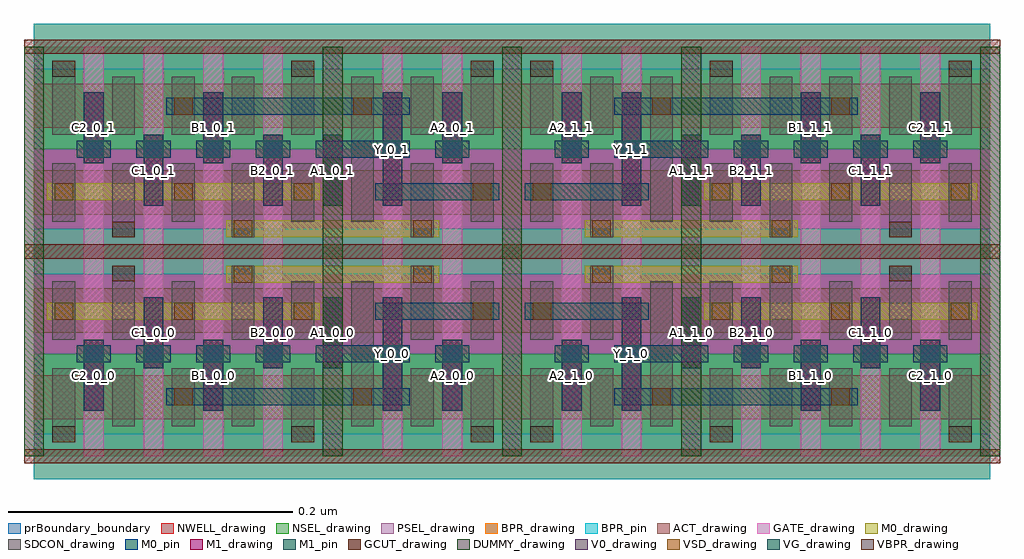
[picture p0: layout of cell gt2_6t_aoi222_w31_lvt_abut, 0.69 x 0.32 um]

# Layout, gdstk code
from math import pi, radians
import gdstk
lib = gdstk.Library(unit=1e-6, precision=5e-10)
def R(c, l, rs):  # rectangles x0, y0, x1, y1
    for r in rs: c.add(gdstk.rectangle(r[:2], r[2:], *l))
def A(c, l, x, y, w, h, nx, ny, dx, dy):  # array of equal rectangles
    R(c, l, [(x+i*dx, y+j*dy, x+i*dx+w, y+j*dy+h) for i in range(nx) for j in range(ny)])
NWELL_drawing = (1, 0)
ACT_drawing = (2, 0)
GATE_drawing = (3, 0)
DUMMY_drawing = (4, 0)
GCUT_drawing = (5, 0)
NSEL_drawing = (6, 0)
PSEL_drawing = (7, 0)
BPR_drawing = (8, 0)
BPR_pin = (8, 251)
VBPR_drawing = (9, 0)
SDCON_drawing = (10, 0)
VSD_drawing = (11, 0)
VG_drawing = (12, 0)
M0_drawing = (20, 0)
M0_pin = (20, 251)
V0_drawing = (22, 0)
M1_drawing = (25, 0)
M1_pin = (25, 251)
prBoundary_boundary = (235, 250)

gt2_6t_aoi222_w31_lvt = lib.new_cell('gt2_6t_aoi222_w31_lvt')
R(gt2_6t_aoi222_w31_lvt, NWELL_drawing, [(0,0.072,0.336,0.144)])
R(gt2_6t_aoi222_w31_lvt, ACT_drawing, [(0,0.026,0.336,0.057), (0,0.087,0.336,0.118)])
A(gt2_6t_aoi222_w31_lvt, GATE_drawing, -0.007, 0, 0.014, 0.144, 9, 1, 0.042, 0)
R(gt2_6t_aoi222_w31_lvt, DUMMY_drawing, [(-0.007,0,0.007,0.072), (0.203,0,0.217,0.072), (0.329,0,0.343,0.072), (-0.007,0.072,0.007,0.144), (0.203,0.072,0.217,0.144), (0.329,0.072,0.343,0.144)])
R(gt2_6t_aoi222_w31_lvt, GCUT_drawing, [(-0.007,-0.005,0.343,0.005), (-0.007,0.139,0.343,0.149)])
R(gt2_6t_aoi222_w31_lvt, NSEL_drawing, [(0,0,0.336,0.072)])
R(gt2_6t_aoi222_w31_lvt, PSEL_drawing, [(0,0.072,0.336,0.144)])
R(gt2_6t_aoi222_w31_lvt, BPR_drawing, [(0,-0.016,0.336,0.016), (0,0.128,0.336,0.16)])
R(gt2_6t_aoi222_w31_lvt, BPR_pin, [(0,-0.016,0.336,0.016), (0,0.128,0.336,0.16)])
R(gt2_6t_aoi222_w31_lvt, VBPR_drawing, [(0.013,0.01,0.029,0.021), (0.181,0.01,0.197,0.021), (0.307,0.01,0.323,0.021), (0.055,0.123,0.071,0.134)])
A(gt2_6t_aoi222_w31_lvt, SDCON_drawing, 0.055, 0.021, 0.016, 0.041, 3, 1, 0.042, 0)
A(gt2_6t_aoi222_w31_lvt, SDCON_drawing, 0.013, 0.082, 0.016, 0.041, 3, 1, 0.084, 0)
R(gt2_6t_aoi222_w31_lvt, SDCON_drawing, [(0.013,0.01,0.029,0.062), (0.181,0.01,0.197,0.062), (0.307,0.01,0.323,0.062), (0.223,0.021,0.239,0.123), (0.265,0.021,0.281,0.062), (0.055,0.082,0.071,0.134), (0.139,0.082,0.155,0.134), (0.265,0.082,0.281,0.134), (0.307,0.082,0.323,0.123)])
A(gt2_6t_aoi222_w31_lvt, VSD_drawing, 0.0145, 0.096, 0.013, 0.012, 3, 1, 0.084, 0)
R(gt2_6t_aoi222_w31_lvt, VSD_drawing, [(0.0985,0.036,0.1115,0.048), (0.2245,0.036,0.2375,0.048), (0.3085,0.096,0.3215,0.108), (0.1405,0.122,0.1535,0.134), (0.2665,0.122,0.2795,0.134)])
A(gt2_6t_aoi222_w31_lvt, VG_drawing, 0.035, 0.066, 0.014, 0.012, 4, 1, 0.042, 0)
R(gt2_6t_aoi222_w31_lvt, VG_drawing, [(0.245,0.066,0.259,0.078), (0.287,0.066,0.301,0.078)])
A(gt2_6t_aoi222_w31_lvt, M0_drawing, 0.156, 0.066, 0.024, 0.012, 4, 1, 0.042, 0)
A(gt2_6t_aoi222_w31_lvt, M0_drawing, 0.009, 0.096, 0.024, 0.012, 3, 1, 0.084, 0)
R(gt2_6t_aoi222_w31_lvt, M0_drawing, [(0.093,0.036,0.117,0.048), (0.093,0.036,0.264,0.048), (0.219,0.036,0.243,0.048), (0.24,0.036,0.264,0.048), (0.03,0.066,0.054,0.078), (0.03,0.066,0.054,0.078), (0.072,0.066,0.096,0.078), (0.072,0.066,0.096,0.078), (0.114,0.066,0.138,0.078), (0.114,0.066,0.138,0.078), (0.156,0.066,0.18,0.078), (0.198,0.066,0.264,0.078), (0.282,0.066,0.306,0.078), (0.009,0.096,0.201,0.108), (0.24,0.096,0.264,0.108), (0.24,0.096,0.327,0.108), (0.303,0.096,0.327,0.108), (0.135,0.122,0.159,0.134), (0.135,0.122,0.285,0.134), (0.261,0.122,0.285,0.134)])
A(gt2_6t_aoi222_w31_lvt, M0_pin, 0.156, 0.066, 0.024, 0.012, 4, 1, 0.042, 0)
R(gt2_6t_aoi222_w31_lvt, M0_pin, [(0.093,0.036,0.117,0.048), (0.093,0.036,0.264,0.048), (0.219,0.036,0.243,0.048), (0.24,0.036,0.264,0.048), (0.03,0.066,0.054,0.078), (0.03,0.066,0.054,0.078), (0.072,0.066,0.096,0.078), (0.072,0.066,0.096,0.078), (0.114,0.066,0.138,0.078), (0.114,0.066,0.138,0.078), (0.156,0.066,0.18,0.078), (0.198,0.066,0.264,0.078), (0.282,0.066,0.306,0.078), (0.24,0.096,0.264,0.108), (0.24,0.096,0.327,0.108), (0.303,0.096,0.327,0.108)])
A(gt2_6t_aoi222_w31_lvt, V0_drawing, 0.035, 0.066, 0.014, 0.012, 5, 1, 0.042, 0)
R(gt2_6t_aoi222_w31_lvt, V0_drawing, [(0.245,0.036,0.259,0.048), (0.287,0.066,0.301,0.078), (0.245,0.096,0.259,0.108)])
A(gt2_6t_aoi222_w31_lvt, M1_drawing, 0.035, 0.062, 0.014, 0.02, 5, 1, 0.042, 0)
R(gt2_6t_aoi222_w31_lvt, M1_drawing, [(0.035,0.032,0.049,0.082), (0.119,0.032,0.133,0.082), (0.245,0.032,0.259,0.052), (0.245,0.032,0.259,0.112), (0.287,0.032,0.301,0.082), (0.077,0.062,0.091,0.112), (0.161,0.062,0.175,0.112), (0.203,0.062,0.217,0.112), (0.287,0.062,0.301,0.082), (0.245,0.092,0.259,0.112)])
A(gt2_6t_aoi222_w31_lvt, M1_pin, 0.035, 0.062, 0.014, 0.02, 5, 1, 0.042, 0)
R(gt2_6t_aoi222_w31_lvt, M1_pin, [(0.035,0.032,0.049,0.082), (0.119,0.032,0.133,0.082), (0.245,0.032,0.259,0.052), (0.245,0.032,0.259,0.112), (0.287,0.032,0.301,0.082), (0.077,0.062,0.091,0.112), (0.161,0.062,0.175,0.112), (0.203,0.062,0.217,0.112), (0.287,0.062,0.301,0.082), (0.245,0.092,0.259,0.112)])
R(gt2_6t_aoi222_w31_lvt, prBoundary_boundary, [(0,0,0.336,0.144)])
gt2_6t_aoi222_w31_lvt.add(gdstk.Label('vss', (0.168,0), layer=8, texttype=251))
gt2_6t_aoi222_w31_lvt.add(gdstk.Label('vdd', (0.168,0.144), layer=8, texttype=251))
gt2_6t_aoi222_w31_lvt.add(gdstk.Label('Y', (0.105,0.042), layer=20, texttype=251))
gt2_6t_aoi222_w31_lvt.add(gdstk.Label('Y', (0.231,0.042), layer=20, texttype=251))
gt2_6t_aoi222_w31_lvt.add(gdstk.Label('C2', (0.042,0.072), layer=20, texttype=251))
gt2_6t_aoi222_w31_lvt.add(gdstk.Label('C1', (0.084,0.072), layer=20, texttype=251))
gt2_6t_aoi222_w31_lvt.add(gdstk.Label('B1', (0.126,0.072), layer=20, texttype=251))
gt2_6t_aoi222_w31_lvt.add(gdstk.Label('B2', (0.168,0.072), layer=20, texttype=251))
gt2_6t_aoi222_w31_lvt.add(gdstk.Label('A1', (0.252,0.072), layer=20, texttype=251))
gt2_6t_aoi222_w31_lvt.add(gdstk.Label('A2', (0.294,0.072), layer=20, texttype=251))
gt2_6t_aoi222_w31_lvt.add(gdstk.Label('Y', (0.315,0.102), layer=20, texttype=251))
gt2_6t_aoi222_w31_lvt.add(gdstk.Label('Y', (0.1785,0.042), layer=20, texttype=251))
gt2_6t_aoi222_w31_lvt.add(gdstk.Label('Y', (0.252,0.042), layer=20, texttype=251))
gt2_6t_aoi222_w31_lvt.add(gdstk.Label('C2', (0.042,0.072), layer=20, texttype=251))
gt2_6t_aoi222_w31_lvt.add(gdstk.Label('C1', (0.084,0.072), layer=20, texttype=251))
gt2_6t_aoi222_w31_lvt.add(gdstk.Label('B1', (0.126,0.072), layer=20, texttype=251))
gt2_6t_aoi222_w31_lvt.add(gdstk.Label('B2', (0.168,0.072), layer=20, texttype=251))
gt2_6t_aoi222_w31_lvt.add(gdstk.Label('A1', (0.231,0.072), layer=20, texttype=251))
gt2_6t_aoi222_w31_lvt.add(gdstk.Label('A1', (0.21,0.072), layer=20, texttype=251))
gt2_6t_aoi222_w31_lvt.add(gdstk.Label('A2', (0.294,0.072), layer=20, texttype=251))
gt2_6t_aoi222_w31_lvt.add(gdstk.Label('Y', (0.2835,0.102), layer=20, texttype=251))
gt2_6t_aoi222_w31_lvt.add(gdstk.Label('Y', (0.252,0.102), layer=20, texttype=251))
gt2_6t_aoi222_w31_lvt.add(gdstk.Label('Y', (0.252,0.042), layer=25, texttype=251))
gt2_6t_aoi222_w31_lvt.add(gdstk.Label('C2', (0.042,0.072), layer=25, texttype=251))
gt2_6t_aoi222_w31_lvt.add(gdstk.Label('C1', (0.084,0.072), layer=25, texttype=251))
gt2_6t_aoi222_w31_lvt.add(gdstk.Label('B1', (0.126,0.072), layer=25, texttype=251))
gt2_6t_aoi222_w31_lvt.add(gdstk.Label('B2', (0.168,0.072), layer=25, texttype=251))
gt2_6t_aoi222_w31_lvt.add(gdstk.Label('A1', (0.21,0.072), layer=25, texttype=251))
gt2_6t_aoi222_w31_lvt.add(gdstk.Label('A2', (0.294,0.072), layer=25, texttype=251))
gt2_6t_aoi222_w31_lvt.add(gdstk.Label('Y', (0.252,0.102), layer=25, texttype=251))
gt2_6t_aoi222_w31_lvt.add(gdstk.Label('C2', (0.042,0.057), layer=25, texttype=251))
gt2_6t_aoi222_w31_lvt.add(gdstk.Label('B1', (0.126,0.057), layer=25, texttype=251))
gt2_6t_aoi222_w31_lvt.add(gdstk.Label('Y', (0.252,0.072), layer=25, texttype=251))
gt2_6t_aoi222_w31_lvt.add(gdstk.Label('A2', (0.294,0.057), layer=25, texttype=251))
gt2_6t_aoi222_w31_lvt.add(gdstk.Label('C1', (0.084,0.087), layer=25, texttype=251))
gt2_6t_aoi222_w31_lvt.add(gdstk.Label('B2', (0.168,0.087), layer=25, texttype=251))
gt2_6t_aoi222_w31_lvt.add(gdstk.Label('A1', (0.21,0.087), layer=25, texttype=251))

gt2_6t_aoi222_w31_lvt_ab = lib.new_cell('gt2_6t_aoi222_w31_lvt_abut')
gt2_6t_aoi222_w31_lvt_ab.add(gdstk.Reference(gt2_6t_aoi222_w31_lvt, (0,0)))
gt2_6t_aoi222_w31_lvt_ab.add(gdstk.Reference(gt2_6t_aoi222_w31_lvt, (0.672,0), rotation=pi, x_reflection=True))
gt2_6t_aoi222_w31_lvt_ab.add(gdstk.Reference(gt2_6t_aoi222_w31_lvt, (0,0.288), x_reflection=True))
gt2_6t_aoi222_w31_lvt_ab.add(gdstk.Reference(gt2_6t_aoi222_w31_lvt, (0.672,0.288), rotation=pi))
gt2_6t_aoi222_w31_lvt_ab.add(gdstk.Label('A1_0_0', (0.21,0.087), layer=25, texttype=251))
gt2_6t_aoi222_w31_lvt_ab.add(gdstk.Label('A2_0_0', (0.294,0.057), layer=25, texttype=251))
gt2_6t_aoi222_w31_lvt_ab.add(gdstk.Label('B1_0_0', (0.126,0.057), layer=25, texttype=251))
gt2_6t_aoi222_w31_lvt_ab.add(gdstk.Label('B2_0_0', (0.168,0.087), layer=25, texttype=251))
gt2_6t_aoi222_w31_lvt_ab.add(gdstk.Label('C1_0_0', (0.084,0.087), layer=25, texttype=251))
gt2_6t_aoi222_w31_lvt_ab.add(gdstk.Label('C2_0_0', (0.042,0.057), layer=25, texttype=251))
gt2_6t_aoi222_w31_lvt_ab.add(gdstk.Label('Y_0_0', (0.252,0.072), layer=25, texttype=251))
gt2_6t_aoi222_w31_lvt_ab.add(gdstk.Label('A1_1_0', (0.462,0.087), layer=25, texttype=251))
gt2_6t_aoi222_w31_lvt_ab.add(gdstk.Label('A2_1_0', (0.378,0.057), layer=25, texttype=251))
gt2_6t_aoi222_w31_lvt_ab.add(gdstk.Label('B1_1_0', (0.546,0.057), layer=25, texttype=251))
gt2_6t_aoi222_w31_lvt_ab.add(gdstk.Label('B2_1_0', (0.504,0.087), layer=25, texttype=251))
gt2_6t_aoi222_w31_lvt_ab.add(gdstk.Label('C1_1_0', (0.588,0.087), layer=25, texttype=251))
gt2_6t_aoi222_w31_lvt_ab.add(gdstk.Label('C2_1_0', (0.63,0.057), layer=25, texttype=251))
gt2_6t_aoi222_w31_lvt_ab.add(gdstk.Label('Y_1_0', (0.42,0.072), layer=25, texttype=251))
gt2_6t_aoi222_w31_lvt_ab.add(gdstk.Label('A1_0_1', (0.21,0.201), layer=25, texttype=251))
gt2_6t_aoi222_w31_lvt_ab.add(gdstk.Label('A2_0_1', (0.294,0.231), layer=25, texttype=251))
gt2_6t_aoi222_w31_lvt_ab.add(gdstk.Label('B1_0_1', (0.126,0.231), layer=25, texttype=251))
gt2_6t_aoi222_w31_lvt_ab.add(gdstk.Label('B2_0_1', (0.168,0.201), layer=25, texttype=251))
gt2_6t_aoi222_w31_lvt_ab.add(gdstk.Label('C1_0_1', (0.084,0.201), layer=25, texttype=251))
gt2_6t_aoi222_w31_lvt_ab.add(gdstk.Label('C2_0_1', (0.042,0.231), layer=25, texttype=251))
gt2_6t_aoi222_w31_lvt_ab.add(gdstk.Label('Y_0_1', (0.252,0.216), layer=25, texttype=251))
gt2_6t_aoi222_w31_lvt_ab.add(gdstk.Label('A1_1_1', (0.462,0.201), layer=25, texttype=251))
gt2_6t_aoi222_w31_lvt_ab.add(gdstk.Label('A2_1_1', (0.378,0.231), layer=25, texttype=251))
gt2_6t_aoi222_w31_lvt_ab.add(gdstk.Label('B1_1_1', (0.546,0.231), layer=25, texttype=251))
gt2_6t_aoi222_w31_lvt_ab.add(gdstk.Label('B2_1_1', (0.504,0.201), layer=25, texttype=251))
gt2_6t_aoi222_w31_lvt_ab.add(gdstk.Label('C1_1_1', (0.588,0.201), layer=25, texttype=251))
gt2_6t_aoi222_w31_lvt_ab.add(gdstk.Label('C2_1_1', (0.63,0.231), layer=25, texttype=251))
gt2_6t_aoi222_w31_lvt_ab.add(gdstk.Label('Y_1_1', (0.42,0.216), layer=25, texttype=251))

lib.write_gds('gt2_6t_aoi222_w31_lvt_abut.gds')
